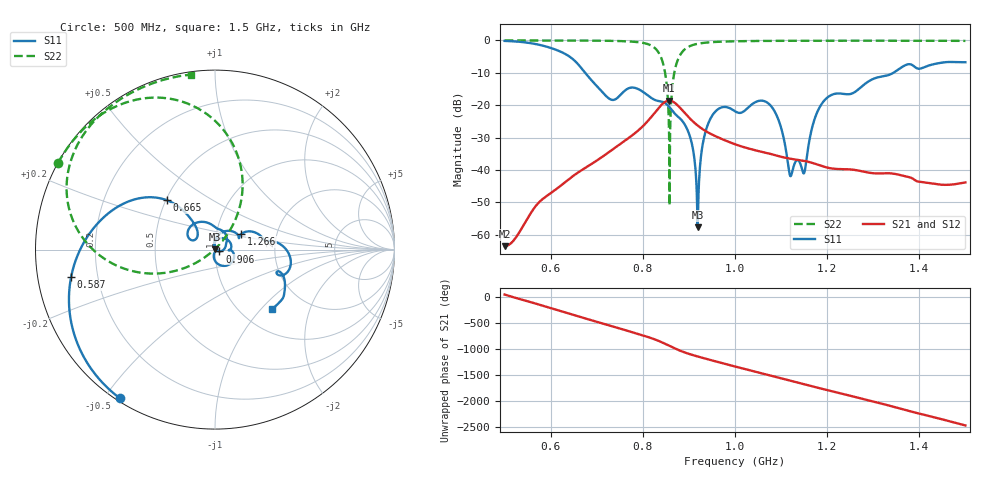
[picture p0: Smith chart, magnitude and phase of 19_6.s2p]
! TOUCHSTONE file generated by CST MICROWAVE STUDIO
! Date and time: Fri Oct  2 18:57:11 2020
! Project name: Scenario_1_Free_Space_out_of_line.cst
! Parameters = {Lambda=346.42; Step_1=17.321; dy1=35.502; dx1=1039; L_HA=400; MT=2.54; Rad_Dielectric=30; Rad_Lower=7.3; Rad_Upper=30; a_HA=580; a_WG=246; b_HA=500; b_WG=121; c_HA=0; c_WG=187; d_feed=85; h_feed=15; h_lower=18; h_upper=40}
! Header version: 2018
! Port assignment regex: !\s*Touchstone port\s*([0-9]+)\s*=\s*(CST MWS port|CST DS port)\s*([0-9]+|Zmin|Zmax)\s*\(\"(.*)\"\)(\s*mode\s*([0-9]+))?.*
! Touchstone port assignment:
! Touchstone port 1 = CST MWS port 1 ("")
! Touchstone port 2 = CST MWS port 2 ("")
# GHz S DB R 50
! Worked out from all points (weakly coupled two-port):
!   1003 points, 500 MHz to 1.5 GHz, reference 50 ohm
!   highest |S21| = -18.59 dB at 857 MHz (marker M1); lowest = -63.5 dB at 500 MHz (marker M2)
!   lowest |S11| = -57.7 dB at 919 MHz (marker M3), VSWR 1.00, Z = 50.1 + j0.0843 ohm
!   |S11| at or under -10 dB: 674.9 MHz to 1.344 GHz (668.7 MHz wide, 66.3 % of centre)
!   |S22| runs from -51.0 to 0.0 dB; largest |S21 - S12| = 8.2e-06
!   S11 on the Smith chart (normalised r, x): 500 MHz: 0.01, -0.55; 587 MHz: 0.10, -0.09; 665 MHz: 0.50, +0.33; 906 MHz: 1.05, -0.02; 1.266 GHz: 1.32, +0.24; 1.5 GHz: 1.37, -1.16
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0.5  -0.15 -122.6  -63.52 46.5  -63.52 46.5  -0.01 151.1
0.587  -1.76 -169.1  -48.49 178.3  -48.49 178.3  -0.02 145.1
0.665  -8.27 134.4  -40.25 -26.9  -40.25 -26.9  -0.04 138.5
0.667  -8.61 133.4  -40.07 -32.2  -40.07 -32.2  -0.04 138.3
0.73  -18.22 142.7  -34.11 165.9  -34.11 165.9  -0.13 130.7
0.834  -18.70 80.1  -20.91 -124.2  -20.91 -124.2  -3.69 84.8
0.848  -19.32 60.9  -19.00 -179.7  -19.00 -179.7  -9.77 62.8
0.857  -20.46 46.5  -18.59 141.5  -18.59 141.5  -29.27 49.7
0.874  -23.26 26.4  -19.83 71.0  -19.83 71.0  -6.73 -164.5
0.906  -31.64 -23.1  -24.65 -31.3  -24.65 -31.3  -1.53 165.0
0.919  -57.70 40.2  -26.28 -65.2  -26.28 -65.2  -1.03 158.5
0.931  -31.22 102.9  -27.51 -94.8  -27.51 -94.8  -0.77 154.1
0.946  -24.35 74.1  -28.75 -130.8  -28.75 -130.8  -0.57 149.8
1  -21.86 -3.1  -32.05 102.3  -32.05 102.3  -0.26 140.2
1.077  -20.06 -65.4  -35.04 -73.3  -35.04 -73.3  -0.14 131.8
1.121  -41.89 -43.8  -36.53 -172.1  -36.53 -172.1  -0.11 127.9
1.15  -40.97 48.9  -37.19 121.6  -37.19 121.6  -0.10 125.5
1.167  -27.11 92.7  -37.78 81.9  -37.78 81.9  -0.10 124.2
1.2  -17.68 53.3  -39.25 9.5  -39.25 9.5  -0.09 121.6
1.266  -15.31 30.9  -40.12 -136.3  -40.12 -136.3  -0.09 116.6
1.334  -10.65 9.5  -41.00 70.5  -41.00 70.5  -0.09 111.5
1.5  -6.74 -46.3  -43.85 48.1  -43.86 48.1  -0.14 97.9
